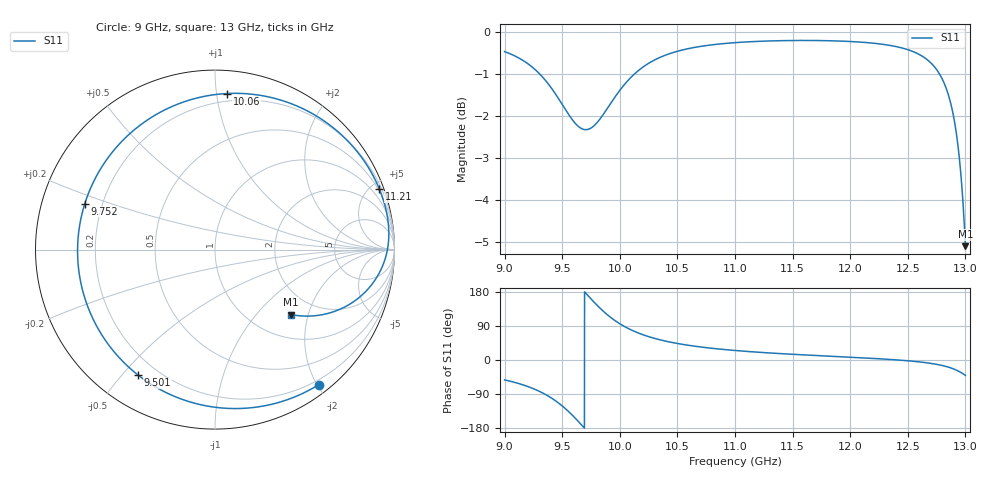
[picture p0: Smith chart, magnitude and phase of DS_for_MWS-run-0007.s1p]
! TOUCHSTONE file generated by CST DESIGN STUDIO
! Date and time: Wed Feb  5 13:27:51 2025
! Project name: C:\Work\MatlabApps\UnitCellOptimizationMatlab\CST\unitcell.cst
! Tree item: Tasks\Sweep1\SPara1\S-Parameters
! Header version: 2024
! Port assignment regex: !\s*Touchstone port\s*([0-9]+)\s*=\s*(CST MWS port|CST DES external port|CST DES block port)\s*(.+)\s* \(\"(.*)\"\)(\s*mode\s*([0-9]+))?.*
! Touchstone port assignment:
! Touchstone port 1 = CST DES external port 1 ("")
# GHz S MA R 50
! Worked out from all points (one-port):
!   4001 points, 9 GHz to 13 GHz, reference 50 ohm
!   lowest |S11| = -5.1 dB at 13 GHz (marker M1), VSWR 3.50, Z = 74.4 - j77.8 ohm
!   |S11| at or under -10 dB: nowhere
!   S11 on the Smith chart (normalised r, x): 9 GHz: 0.13, -2.02; 9.501 GHz: 0.13, -0.55; 9.752 GHz: 0.13, +0.17; 10.06 GHz: 0.15, +1.07; 11.21 GHz: 0.39, +5.58; 13 GHz: 1.49, -1.56
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9  0.9487 -52.5
9.167  0.9245 -66.4
9.319  0.8878 -85.2
9.416  0.8544 -102.2
9.5  0.8205 -121.2
9.501  0.8201 -121.4
9.567  0.794 -139.4
9.638  0.7728 -161.5
9.695  0.7657 179.6
9.752  0.7692 160.5
9.815  0.7842 140.7
9.874  0.8048 124.0
9.935  0.8284 109.1
10  0.8528 95.6
10.058  0.8723 85.5
10.155  0.899 71.9
10.257  0.9199 61.0
10.5  0.9496 43.6
10.719  0.9632 33.7
11  0.9723 25.1
11.215  0.9759 20.2
11.5  0.978 15.0
12  0.9754 7.3
12.5  0.9537 -2.0
12.697  0.9206 -8.7
12.826  0.8629 -16.5
12.915  0.7685 -25.8
13  0.5558 -40.6
